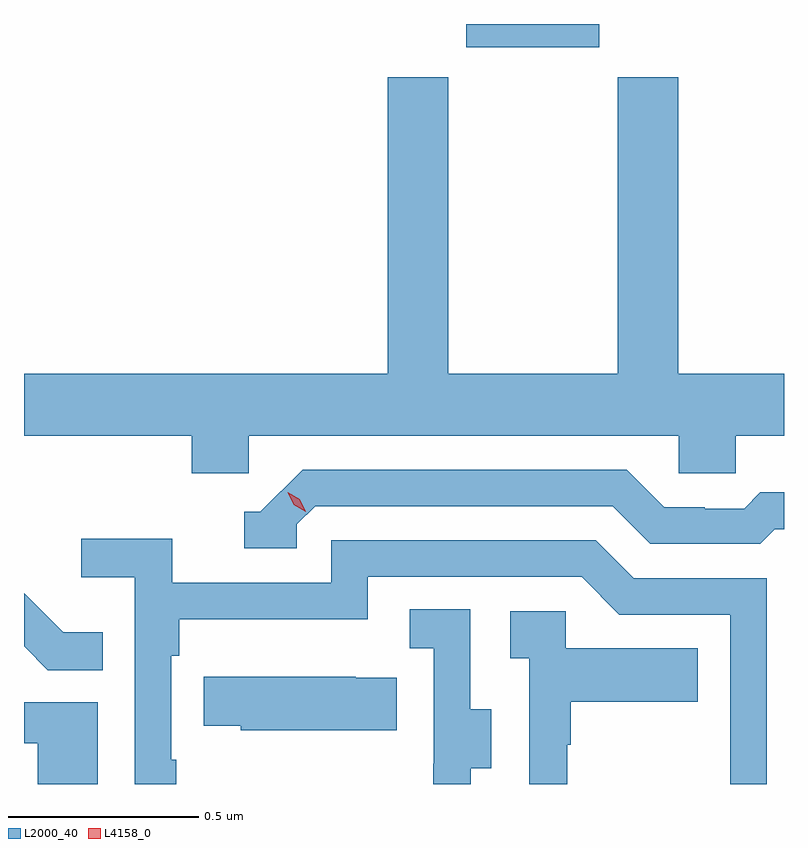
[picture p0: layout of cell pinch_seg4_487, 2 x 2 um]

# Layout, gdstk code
import gdstk
lib = gdstk.Library(unit=1e-6, precision=1e-09)
def R(c, l, rs):  # rectangles x0, y0, x1, y1
    for r in rs: c.add(gdstk.rectangle(r[:2], r[2:], *l))
def P(c, l, *ps):  # polygons
    for p in ps: c.add(gdstk.Polygon(p, *l))
L2000_40 = (2000, 40)
L4158_0 = (4158, 0)

pinch_seg4_487 = lib.new_cell('pinch_seg4_487')
R(pinch_seg4_487, L2000_40, [(929.93,757.883,930.28,757.944)])
P(pinch_seg4_487, L2000_40, [(929.358,756.86),(930.489,756.86),(930.489,756.762),(930.639,756.762),(930.639,756.86),(930.766,756.86),(930.766,757.024),(930.488,757.024),(930.488,757.804),(930.328,757.804),(930.328,757.024),(929.883,757.024),(929.883,757.804),(929.723,757.804),(929.723,757.024),(928.766,757.024),(928.766,756.86),(929.207,756.86),(929.207,756.762),(929.358,756.762)],
  [(929.484,756.627),(929.532,756.675),(930.315,756.675),(930.414,756.576),(930.703,756.576),(930.742,756.615),(930.766,756.615),(930.766,756.712),(930.703,756.712),(930.661,756.669),(930.558,756.669),(930.558,756.672),(930.451,756.672),(930.352,756.771),(929.499,756.771),(929.388,756.66),(929.345,756.66),(929.345,756.564),(929.484,756.564)],
  [(929.167,756.008),(929.154,756.008),(929.154,756.281),(929.174,756.281),(929.174,756.377),(929.67,756.377),(929.67,756.489),(930.234,756.489),(930.333,756.39),(930.624,756.39),(930.624,755.944),(930.72,755.944),(930.72,756.486),(930.37,756.486),(930.271,756.585),(929.574,756.585),(929.574,756.474),(929.156,756.474),(929.156,756.59),(928.917,756.59),(928.917,756.488),(929.058,756.488),(929.058,755.944),(929.167,755.944)],
  [(928.973,756.343),(928.869,756.343),(928.766,756.446),(928.766,756.307),(928.829,756.244),(928.973,756.244)],
  [(929.941,755.986),(929.995,755.986),(929.995,756.141),(929.94,756.141),(929.94,756.404),(929.781,756.404),(929.781,756.301),(929.844,756.301),(929.844,755.997),(929.843,755.997),(929.843,755.944),(929.941,755.944)],
  [(930.195,756.047),(930.205,756.047),(930.205,756.161),(930.539,756.161),(930.539,756.301),(930.192,756.301),(930.192,756.399),(930.045,756.399),(930.045,756.275),(930.096,756.275),(930.096,755.944),(930.195,755.944)],
  [(929.747,756.223),(929.639,756.223),(929.639,756.226),(929.239,756.226),(929.239,756.097),(929.337,756.097),(929.337,756.086),(929.747,756.086)],
  [(928.96,756.159),(928.766,756.159),(928.766,756.051),(928.802,756.051),(928.802,755.944),(928.96,755.944)])
P(pinch_seg4_487, L4158_0, [(929.507,756.66),(929.476,756.679),(929.46,756.712),(929.46,756.712),(929.46,756.712),(929.491,756.693),(929.507,756.66),(929.507,756.66)])

lib.write_gds('pinch_seg4_487.gds')
